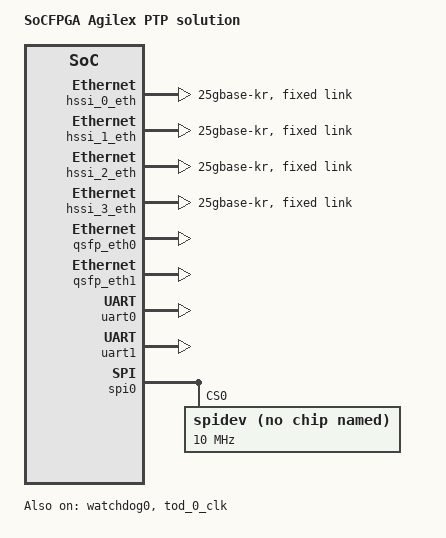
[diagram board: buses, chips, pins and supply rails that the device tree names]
// SPDX-License-Identifier: GPL
/*
 * Copyright (C) 2022,2023 Intel Corporation
 */
#include "socfpga_agilex.dtsi"

/ {
	model = "SoCFPGA Agilex PTP solution";
        compatible = "intel,socfpga-agilex-n6000", "intel,socfpga-agilex";

        aliases {
                serial0 = &uart1;
                serial1 = &uart0;
                ethernet0 = &gmac0;
                ethernet1 = &gmac1;
                ethernet2 = &gmac2;
        };

        chosen {
                stdout-path = "serial0:115200n8";
        };

        memory@0 {
                device_type = "memory";
                /* We expect the bootloader to fill in the reg */
                reg = <0 0 0 0>;
        };

        soc {
                agilex_hps_bridges: bus@80000000 {
                        compatible = "simple-bus";
                        reg = <0x80000000 0x60000000>,
                              <0xf9000000 0x00100000>;
                        reg-names = "axi_h2f", "axi_h2f_lw";
                        #address-cells = <2>;
                        #size-cells = <1>;
            		ranges =        <0x00000000 0x00000000 0xf9000000 0x00001000>,
                                        <0x00000001 0x00000000 0x80000000 0x00040000>;

                        dma-controller@0 {
                                compatible = "intel,hps-copy-engine";
                                reg = <0x00000000 0x00000000 0x00001000>;
                                #dma-cells = <1>;
                        };
        };
                clocks {
                        tod_in_clock: tod_in_clock {
                                #clock-cells = <0>;
                                compatible = "fixed-clock";
                                clock-frequency = <156250000>;
                                clock-output-names = "tod_in_clock";
                        };
                };

		ptp_clockcleaner: ptp_clockcleaner {
			compatible = "intel, freq-steering-zl-spi";
			dpll-name = "zl30793";
			interface  = "spi";
			bus-num    = <0>;
			chipselect = <0>;
		};

                tod_0_clk: tod_0_clk{
                        compatible = "intel, tod";
                        reg-names = "tod_ctrl",
				    "pps_ctrl";
                        reg = <0x81000000 0x00000040>,
                              <0x81000100 0x00000040>;
                        interrupt-parent = <&intc>;
                        interrupt-names = "pps_irq";
                        interrupts = <0 40 4>;
                        clocks = <&tod_in_clock>;
                        clock-names = "tod_clock";
                        status = "okay";
			altr,has-ptp-clockcleaner;
			clock-cleaner = <&ptp_clockcleaner>;
                };

	         hssiss_0_hssiss: hssiss_0_hssiss {
			compatible = "intel, hssiss-1.0";
			reg-names = "sscsr";
			reg = <0x80114000 0x00001000>;
                        reset-mode ="reg";
                        cold-reset {
                                ofs = <0x7B8>;
                                rst-bit = <0>;
                                rst-ack = <1>;
			};
		};

		hssi_0_eth: hssi_0_eth{

				reg-names = "tx_pref"  ,
					    "tx_csr"   ,
					    "tx_fifo"  ,
					    "rx_pref"  ,
					    "rx_csr"   ,
					    "rx_fifo"  ;

				reg =   <0x82000800 0x00000020>,
					<0x82000820 0x00000020>,
					<0x82000840 0x00000020>,
					<0x82000900 0x00000020>,
					<0x82000920 0x00000020>,
					<0x82000940 0x00000020>;

				compatible = "altr,hssi-etile-1.0";
				hssi_port = <0xa>;
				tile_chan = <14>;
				phy-mode = "25gbase-kr";
				monitor_poll_interval = <50>;
				tod = <&tod_0_clk>;
				qsfp = <&qsfp_eth0>;
				hssiss = <&hssiss_0_hssiss>;
				altr,tx-pma-delay-ns = <0xD>;
				altr,rx-pma-delay-ns = <0x8>;
				altr,tx-pma-delay-fns = <0x24D>;
				altr,rx-pma-delay-fns = <0x3E97>;
				altr,tx-external-phy-delay-ns = <0x0>;
				altr,rx-external-phy-delay-ns = <0x0>;
				fec-cw-pos-rx = <0x3>;
				fec-type="kr-fec";
				ui-adj-interval=<500>;
				interrupt-parent = <&intc>;
				interrupt-names = "tx_irq", "rx_irq";
				interrupts = <0 24 4>, <0 25 4>;
                                tx-poll-freq=<1024>;
                                rx-poll-freq=<1024>;
				rx-fifo-depth = <0x4000>;
				tx-fifo-depth = <0x1000>;
				rx-fifo-almost-full = <0x2000>;
				rx-fifo-almost-empty = <0x1000>;
				altr,has-ptp;
				status = "okay";
				fixed-link {
					speed =<25000>;
					full-duplex;
				};
 
			};

		hssi_1_eth: hssi_1_eth{

				reg-names = "tx_pref"  ,
					    "tx_csr"   ,
					    "tx_fifo"  ,
					    "rx_pref"  ,
					    "rx_csr"   ,
					    "rx_fifo"  ;

				reg =   <0x82001800 0x00000020>,
					<0x82001820 0x00000020>,
					<0x82001840 0x00000020>,
					<0x82001900 0x00000020>,
					<0x82001920 0x00000020>,
					<0x82001940 0x00000020>;

				compatible = "altr,hssi-etile-1.0";
				hssi_port = <0xb>;
				tile_chan = <15>;
				phy-mode = "25gbase-kr";
				monitor_poll_interval = <50>;
				tod = <&tod_0_clk>;
				qsfp = <&qsfp_eth1>;
				hssiss = <&hssiss_0_hssiss>;
				altr,tx-pma-delay-ns = <0xD>;
				altr,rx-pma-delay-ns = <0x8>;
				altr,tx-pma-delay-fns = <0x24D>;
				altr,rx-pma-delay-fns = <0x3E97>;
				altr,tx-external-phy-delay-ns = <0x0>;
				altr,rx-external-phy-delay-ns = <0x0>;
				fec-cw-pos-rx = <0x3>;
				fec-type="kr-fec";
				ui-adj-interval=<500>;
				interrupt-parent = <&intc>;
				interrupt-names = "tx_irq", "rx_irq";
				interrupts = <0 26 4>, <0 27 4>;
                                tx-poll-freq=<1024>;
                                rx-poll-freq=<1024>;
				rx-fifo-depth = <0x4000>;
				tx-fifo-depth = <0x1000>;
				rx-fifo-almost-full = <0x2000>;
				rx-fifo-almost-empty = <0x1000>;
				altr,has-ptp;
				status = "okay";
				fixed-link {
					speed =<25000>;
					full-duplex;
				};
			};
		hssi_2_eth: hssi_2_eth{

				reg-names = "tx_pref"  ,
					    "tx_csr"   ,
					    "tx_fifo"  ,
					    "rx_pref"  ,
					    "rx_csr"   ,
					    "rx_fifo"  ;

				reg =   <0x82002800 0x00000020>,
					<0x82002820 0x00000020>,
					<0x82002840 0x00000020>,
					<0x82002900 0x00000020>,
					<0x82002920 0x00000020>,
					<0x82002940 0x00000020>;

				compatible = "altr,hssi-etile-1.0";
				hssi_port = <0xc>;
				tile_chan = <20>;
				phy-mode = "25gbase-kr";
				monitor_poll_interval = <50>;
				tod = <&tod_0_clk>;
				qsfp = <&qsfp_eth1>;
				hssiss = <&hssiss_0_hssiss>;
				altr,tx-pma-delay-ns = <0xD>;
				altr,rx-pma-delay-ns = <0x8>;
				altr,tx-pma-delay-fns = <0x24D>;
				altr,rx-pma-delay-fns = <0x3E97>;
				altr,tx-external-phy-delay-ns = <0x0>;
				altr,rx-external-phy-delay-ns = <0x0>;
				fec-cw-pos-rx = <0x3>;
				fec-type="kr-fec";
				ui-adj-interval=<500>;
				interrupt-parent = <&intc>;
				interrupt-names = "tx_irq", "rx_irq";
				interrupts = <0 28 4>, <0 29 4>;
                                tx-poll-freq=<1024>;
                                rx-poll-freq=<1024>;
				rx-fifo-depth = <0x4000>;
				tx-fifo-depth = <0x1000>;
				rx-fifo-almost-full = <0x2000>;
				rx-fifo-almost-empty = <0x1000>;
				altr,has-ptp;
				status = "okay";
				fixed-link {
					speed =<25000>;
					full-duplex;
				};
			};
		hssi_3_eth: hssi_3_eth{

				reg-names = "tx_pref"  ,
					    "tx_csr"   ,
					    "tx_fifo"  ,
					    "rx_pref"  ,
					    "rx_csr"   ,
					    "rx_fifo"  ;

				reg =   <0x82003800 0x00000020>,
					<0x82003820 0x00000020>,
					<0x82003840 0x00000020>,
					<0x82003900 0x00000020>,
					<0x82003920 0x00000020>,
					<0x82003940 0x00000020>;

				compatible = "altr,hssi-etile-1.0";
				hssi_port = <0xd>;
				tile_chan = <21>;
				phy-mode = "25gbase-kr";
				monitor_poll_interval = <50>;
				tod = <&tod_0_clk>;
				qsfp = <&qsfp_eth0>;
				hssiss = <&hssiss_0_hssiss>;
				altr,tx-pma-delay-ns = <0xD>;
				altr,rx-pma-delay-ns = <0x8>;
				altr,tx-pma-delay-fns = <0x24D>;
				altr,rx-pma-delay-fns = <0x3E97>;
				altr,tx-external-phy-delay-ns = <0x0>;
				altr,rx-external-phy-delay-ns = <0x0>;
				fec-cw-pos-rx = <0x3>;
				fec-type="kr-fec";
				ui-adj-interval=<500>;
				interrupt-parent = <&intc>;
				interrupt-names = "tx_irq", "rx_irq";
				interrupts = <0 30 4>, <0 31 4>;
                                tx-poll-freq=<1024>;
                                rx-poll-freq=<1024>;
				rx-fifo-depth = <0x4000>;
				tx-fifo-depth = <0x1000>;
				rx-fifo-almost-full = <0x2000>;
				rx-fifo-almost-empty = <0x1000>;
				altr,has-ptp;
				status = "okay";
				fixed-link {
					speed =<25000>;
					full-duplex;
				};
			};

                qsfp_eth0: qsfp-eth0 {
                        compatible = "intel,qsfp-mem";
                        reg-names = "qsfp-mem-ctrl";
                        reg = <0x80112000 0x00001000>;
                        status = "okay";
                };


                qsfp_eth1: qsfp-eth1 {
                        compatible = "intel,qsfp-mem";
                        reg-names = "qsfp-mem-ctrl";
                        reg = <0x80113000 0x00001000>;
                        status = "okay";
                };
        };
};

&osc1 {
        clock-frequency = <25000000>;
};

&uart0 {
        status = "okay";
};

&uart1 {
        status = "okay";
};

&watchdog0 {
        status = "okay";
};

&fpga_mgr {
        status = "disabled";
};

&spi0 {
	status = "okay";
        
	spidev@0 {
		compatible = "linux,spidev";
		spi-max-frequency = <10000000>;
		reg = <0>;
	};
};
